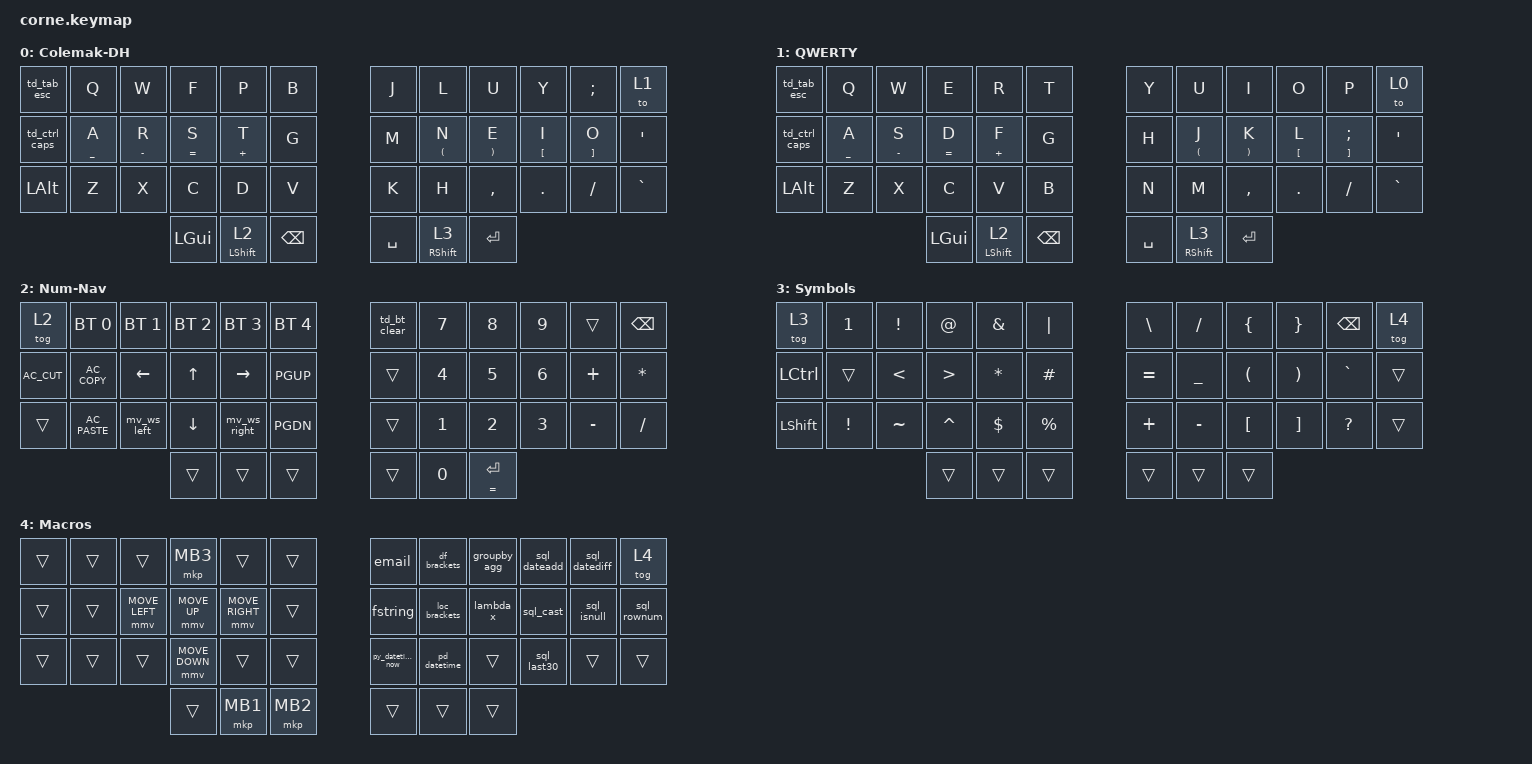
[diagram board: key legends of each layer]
/*
 * Corne wireless (nice_nano_v2)
 * Enhanced with:
 * - Home row symbols (hold-tap)
 * - Tap-dance layer switching (single=layer, double=different layer, hold=shift)
 * - Mouse emulation layer with productivity macros
 * - Repeating space/backspace
 * Layers: 0=COLEMAK / 1=QWERTY / 2=LOWER / 3=RAISE / 4=MOUSE
 */
#include <behaviors.dtsi>
#include <dt-bindings/zmk/keys.h>
#include <dt-bindings/zmk/bt.h>
#include <dt-bindings/zmk/mouse.h>

/ {
    macros {
        mv_ws_left: mv_ws_left {
            compatible = "zmk,behavior-macro";
            #binding-cells = <0>;
            bindings = <&kp LG(LC(LS(LEFT)))>;
        };
        mv_ws_right: mv_ws_right {
            compatible = "zmk,behavior-macro";
            #binding-cells = <0>;
            bindings = <&kp LG(LC(LS(RIGHT)))>;
        };

        // Email macro
        email: email {
            compatible = "zmk,behavior-macro";
            #binding-cells = <0>;
            bindings = <&macro_tap &kp E &kp J &kp M &kp O &kp O &kp N &kp E &kp Y 
                        &macro_wait_time 15
                        &kp AT 
                        &macro_wait_time 15
                        &kp S &kp A &kp L &kp U &kp D &kp DOT 
                        &macro_wait_time 15
                        &kp U &kp N &kp M &kp DOT &kp E &kp D &kp U>;
        };

        // Python/Pandas macros
        
        // df[''] without cursor positioning
        df_brackets: df_brackets {
            compatible = "zmk,behavior-macro";
            #binding-cells = <0>;
            bindings = <&macro_tap &kp D &kp F &kp LBKT &kp SQT &kp SQT &kp RBKT>;
        };
        
        // .groupby().agg()
        groupby_agg: groupby_agg {
            compatible = "zmk,behavior-macro";
            #binding-cells = <0>;
            bindings = <&macro_tap &kp DOT &kp G &kp R &kp O &kp U &kp P &kp B &kp Y
                        &kp LPAR &kp RPAR &kp DOT &kp A &kp G &kp G &kp LPAR &kp RPAR>;
        };
        
        // pd.to_datetime()
        pd_datetime: pd_datetime {
            compatible = "zmk,behavior-macro";
            #binding-cells = <0>;
            bindings = <&macro_tap &kp P &kp D &kp DOT &kp T &kp O &kp UNDER
                        &kp D &kp A &kp T &kp E &kp T &kp I &kp M &kp E
                        &kp LPAR &kp RPAR>;
        };
        
        // .loc[]
        loc_brackets: loc_brackets {
            compatible = "zmk,behavior-macro";
            #binding-cells = <0>;
            bindings = <&macro_tap &kp DOT &kp L &kp O &kp C
                        &kp LBKT &kp RBKT>;
        };
        
        // lambda x: with cursor after colon
        lambda_x: lambda_x {
            compatible = "zmk,behavior-macro";
            #binding-cells = <0>;
            bindings = <&macro_tap &kp L &kp A &kp M &kp B &kp D &kp A &kp SPACE
                        &kp X &kp COLON &kp SPACE>;
        };
        
        // f"{}"
        fstring: fstring {
            compatible = "zmk,behavior-macro";
            #binding-cells = <0>;
            bindings = <&macro_tap &kp F &kp DQT &kp LBRC &kp RBRC &kp DQT>;
        };
        
        // SQL Server macros
        
        // DATEADD(day, , GETDATE())
        sql_dateadd: sql_dateadd {
            compatible = "zmk,behavior-macro";
            #binding-cells = <0>;
            bindings = <&macro_tap 
                        &kp LS(D) &kp LS(A) &kp LS(T) &kp LS(E) &kp LS(A) &kp LS(D) &kp LS(D)
                        &kp LPAR &kp D &kp A &kp Y &kp COMMA &kp SPACE
                        &kp COMMA &kp SPACE
                        &kp LS(G) &kp LS(E) &kp LS(T) &kp LS(D) &kp LS(A) &kp LS(T) &kp LS(E)
                        &kp LPAR &kp RPAR &kp RPAR>;
        };
        
        // DATEDIFF(day, , )
        sql_datediff: sql_datediff {
            compatible = "zmk,behavior-macro";
            #binding-cells = <0>;
            bindings = <&macro_tap 
                        &kp LS(D) &kp LS(A) &kp LS(T) &kp LS(E) &kp LS(D) &kp LS(I) &kp LS(F) &kp LS(F)
                        &kp LPAR &kp D &kp A &kp Y &kp COMMA &kp SPACE
                        &kp COMMA &kp SPACE
                        &kp RPAR>;
        };
        
        // CAST( AS VARCHAR(50))
        sql_cast: sql_cast {
            compatible = "zmk,behavior-macro";
            #binding-cells = <0>;
            bindings = <&macro_tap 
                        &kp LS(C) &kp LS(A) &kp LS(S) &kp LS(T) &kp LPAR
                        &kp SPACE &kp LS(A) &kp LS(S) &kp SPACE
                        &kp LS(V) &kp LS(A) &kp LS(R) &kp LS(C) &kp LS(H) &kp LS(A) &kp LS(R)
                        &kp LPAR &kp N5 &kp N0 &kp RPAR &kp RPAR>;
        };
        
        // ISNULL(, 0)
        sql_isnull: sql_isnull {
            compatible = "zmk,behavior-macro";
            #binding-cells = <0>;
            bindings = <&macro_tap 
                        &kp LS(I) &kp LS(S) &kp LS(N) &kp LS(U) &kp LS(L) &kp LS(L)
                        &kp LPAR &kp COMMA &kp SPACE &kp N0 &kp RPAR>;
        };
        
        // ROW_NUMBER() OVER (PARTITION BY  ORDER BY )
        sql_rownum: sql_rownum {
            compatible = "zmk,behavior-macro";
            #binding-cells = <0>;
            bindings = <&macro_tap 
                        &kp LS(R) &kp LS(O) &kp LS(W) &kp UNDER &kp LS(N) &kp LS(U) &kp LS(M) &kp LS(B) &kp LS(E) &kp LS(R)
                        &kp LPAR &kp RPAR &kp SPACE
                        &kp LS(O) &kp LS(V) &kp LS(E) &kp LS(R) &kp SPACE &kp LPAR
                        &kp LS(P) &kp LS(A) &kp LS(R) &kp LS(T) &kp LS(I) &kp LS(T) &kp LS(I) &kp LS(O) &kp LS(N) &kp SPACE
                        &kp LS(B) &kp LS(Y) &kp SPACE
                        &kp SPACE &kp LS(O) &kp LS(R) &kp LS(D) &kp LS(E) &kp LS(R) &kp SPACE
                        &kp LS(B) &kp LS(Y) &kp SPACE
                        &kp RPAR>;
        };
        
        // >= DATEADD(day, -30, GETDATE()) for last 30 days filter
        sql_last30: sql_last30 {
            compatible = "zmk,behavior-macro";
            #binding-cells = <0>;
            bindings = <&macro_tap 
                        &kp GT &kp EQUAL &kp SPACE
                        &kp LS(D) &kp LS(A) &kp LS(T) &kp LS(E) &kp LS(A) &kp LS(D) &kp LS(D)
                        &kp LPAR &kp D &kp A &kp Y &kp COMMA &kp SPACE
                        &kp MINUS &kp N3 &kp N0 &kp COMMA &kp SPACE
                        &kp LS(G) &kp LS(E) &kp LS(T) &kp LS(D) &kp LS(A) &kp LS(T) &kp LS(E)
                        &kp LPAR &kp RPAR &kp RPAR>;
        };

        // Python datetime.now()
        py_datetime_now: py_datetime_now {
            compatible = "zmk,behavior-macro";
            #binding-cells = <0>;
            bindings = <&macro_tap &kp D &kp A &kp T &kp E &kp T &kp I &kp M &kp E 
                        &macro_wait_time 15
                        &kp DOT &kp N &kp O &kp W &kp LPAR &kp RPAR>;
        };
    };

    behaviors {
        // Bluetooth clear guard: single tap/hold = nothing; double tap = clear selected profile.
        td_bt_clear: tap_dance_bt_clear {
            compatible = "zmk,behavior-tap-dance";
            #binding-cells = <0>;
            tapping-term-ms = <250>;
            bindings = <&none>, <&bt BT_CLR>;
        };

        // Tap-dance: Single tap = Tab, Double tap = Escape
        td_tab_esc: tap_dance_tab_esc {
            compatible = "zmk,behavior-tap-dance";
            #binding-cells = <0>;
            tapping-term-ms = <200>;
            bindings = <&kp TAB>, <&kp ESC>;
        };

        // Tap-dance: Single tap = Ctrl, Double tap = Caps Word
        td_ctrl_caps: tap_dance_ctrl_caps {
            compatible = "zmk,behavior-tap-dance";
            #binding-cells = <0>;
            tapping-term-ms = <200>;
            bindings = <&kp LCTRL>, <&caps_word>;
        };

        // Home row hold-tap for symbols
        // Left hand home row
        hm_a: homerow_mods_a {
            compatible = "zmk,behavior-hold-tap";
            #binding-cells = <2>;
            tapping-term-ms = <200>;
            quick-tap-ms = <150>;
            flavor = "tap-preferred";
            bindings = <&kp>, <&kp>;
        };
        
        hm_r: homerow_mods_r {
            compatible = "zmk,behavior-hold-tap";
            #binding-cells = <2>;
            tapping-term-ms = <200>;
            quick-tap-ms = <150>;
            flavor = "tap-preferred";
            bindings = <&kp>, <&kp>;
        };
        
        hm_s: homerow_mods_s {
            compatible = "zmk,behavior-hold-tap";
            #binding-cells = <2>;
            tapping-term-ms = <200>;
            quick-tap-ms = <150>;
            flavor = "tap-preferred";
            bindings = <&kp>, <&kp>;
        };
        
        hm_t: homerow_mods_t {
            compatible = "zmk,behavior-hold-tap";
            #binding-cells = <2>;
            tapping-term-ms = <200>;
            quick-tap-ms = <150>;
            flavor = "tap-preferred";
            bindings = <&kp>, <&kp>;
        };
        
        // Right hand home row
        hm_n: homerow_mods_n {
            compatible = "zmk,behavior-hold-tap";
            #binding-cells = <2>;
            tapping-term-ms = <200>;
            quick-tap-ms = <150>;
            flavor = "tap-preferred";
            bindings = <&kp>, <&kp>;
        };
        
        hm_e: homerow_mods_e {
            compatible = "zmk,behavior-hold-tap";
            #binding-cells = <2>;
            tapping-term-ms = <200>;
            quick-tap-ms = <150>;
            flavor = "tap-preferred";
            bindings = <&kp>, <&kp>;
        };
        
        hm_i: homerow_mods_i {
            compatible = "zmk,behavior-hold-tap";
            #binding-cells = <2>;
            tapping-term-ms = <200>;
            quick-tap-ms = <150>;
            flavor = "tap-preferred";
            bindings = <&kp>, <&kp>;
        };
        
        hm_o: homerow_mods_o {
            compatible = "zmk,behavior-hold-tap";
            #binding-cells = <2>;
            tapping-term-ms = <200>;
            quick-tap-ms = <150>;
            flavor = "tap-preferred";
            bindings = <&kp>, <&kp>;
        };

        // Layer-tap: Tap = toggle layer (on/off), Hold = Shift
        lt_lower: layer_tap_lower {
            compatible = "zmk,behavior-hold-tap";
            #binding-cells = <2>;
            tapping-term-ms = <200>;
            quick-tap-ms = <150>;
            flavor = "balanced";
            bindings = <&kp>, <&tog>;
        };
        
        lt_raise: layer_tap_raise {
            compatible = "zmk,behavior-hold-tap";
            #binding-cells = <2>;
            tapping-term-ms = <200>;
            quick-tap-ms = <150>;
            flavor = "balanced";
            bindings = <&kp>, <&tog>;
        };

        // Hold-tap: Tap = Enter, Hold = Equal
        ht_eq_ret: holdtap_equal_return {
            compatible = "zmk,behavior-hold-tap";
            #binding-cells = <2>;
            tapping-term-ms = <200>;
            quick-tap-ms = <150>;
            flavor = "tap-preferred";
            bindings = <&kp>, <&kp>;
        };
    };

    keymap {
        compatible = "zmk,keymap";
        
        base: layer_base {
            display-name = "Colemak-DH";
            bindings = <
                &td_tab_esc   &kp Q           &kp W           &kp F           &kp P           &kp B               &kp J  &kp L           &kp U           &kp Y            &kp SEMI  &to 1
                &td_ctrl_caps &hm_a UNDER A  &hm_r MINUS R  &hm_s EQUAL S  &hm_t PLUS T   &kp G               &kp M  &hm_n LPAR N   &hm_e RPAR E   &hm_i LBKT I    &hm_o RBKT O  &kp SQT
                &kp LALT      &kp Z           &kp X           &kp C           &kp D           &kp V               &kp K  &kp H           &kp COMMA       &kp DOT          &kp FSLH  &kp GRAVE
                                                              &kp LGUI        &lt_lower LSHIFT 2  &kp BSPC        &kp SPACE  &lt_raise RSHIFT 3  &kp RET
            >;
        };
        
        qwerty: layer_qwerty {
            display-name = "QWERTY";
            bindings = <
                &td_tab_esc   &kp Q           &kp W           &kp E           &kp R           &kp T               &kp Y  &kp U           &kp I           &kp O            &kp P     &to 0
                &td_ctrl_caps &hm_a UNDER A  &hm_r MINUS S  &hm_s EQUAL D  &hm_t PLUS F   &kp G               &kp H  &hm_n LPAR J   &hm_e RPAR K   &hm_i LBKT L    &hm_o RBKT SEMI  &kp SQT
                &kp LALT      &kp Z           &kp X           &kp C           &kp V           &kp B               &kp N  &kp M           &kp COMMA       &kp DOT          &kp FSLH  &kp GRAVE
                                                              &kp LGUI        &lt_lower LSHIFT 2  &kp BSPC        &kp SPACE  &lt_raise RSHIFT 3  &kp RET
            >;
        };
        
        lower: layer_lower {
            display-name = "Num-Nav";
            bindings = <
                &tog 2          &bt BT_SEL 0    &bt BT_SEL 1   &bt BT_SEL 2   &bt BT_SEL 3   &bt BT_SEL 4    &td_bt_clear &kp N7  &kp N8  &kp N9  &trans      &kp BSPC
                &kp C_AC_CUT    &kp C_AC_COPY   &kp LEFT       &kp UP         &kp RIGHT      &kp PGUP        &trans  &kp N4  &kp N5  &kp N6  &kp PLUS    &kp ASTERISK
                &trans          &kp C_AC_PASTE  &mv_ws_left    &kp DOWN       &mv_ws_right   &kp PGDN        &trans  &kp N1  &kp N2  &kp N3  &kp MINUS   &kp FSLH
                                                                &trans         &trans         &trans          &trans  &kp N0  &ht_eq_ret EQUAL RET
            >;
        };
        
        raise: layer_raise {
            display-name = "Symbols";
            bindings = <
                &tog 3     &kp N1    &kp EXCL   &kp AT     &kp AMPS   &kp PIPE     &kp BSLH   &kp FSLH    &kp LBRC  &kp RBRC  &kp BSPC  &tog 4
                &kp LCTRL  &trans    &kp LT     &kp GT     &kp ASTRK  &kp HASH     &kp EQUAL  &kp UNDER   &kp LPAR  &kp RPAR  &kp GRAVE  &trans
                &kp LSHFT  &kp EXCL  &kp TILDE  &kp CARET  &kp DLLR   &kp PRCNT    &kp PLUS   &kp MINUS   &kp LBKT  &kp RBKT  &kp QMARK  &trans
                                                &trans     &trans     &trans       &trans     &trans      &trans
            >;
        };
        
        mouse: layer_mouse {
            display-name = "Macros";
            bindings = <
                &trans          &trans          &trans          &mkp MB3        &trans          &trans          &email          &df_brackets    &groupby_agg    &sql_dateadd    &sql_datediff   &tog 4
                &trans          &trans          &mmv MOVE_LEFT  &mmv MOVE_UP    &mmv MOVE_RIGHT &trans          &fstring        &loc_brackets   &lambda_x       &sql_cast       &sql_isnull     &sql_rownum
                &trans          &trans          &trans          &mmv MOVE_DOWN  &trans          &trans          &py_datetime_now &pd_datetime   &trans          &sql_last30     &trans          &trans
                                                                &trans          &mkp MB1        &mkp MB2        &trans          &trans          &trans
            >;
        };
    };
};
